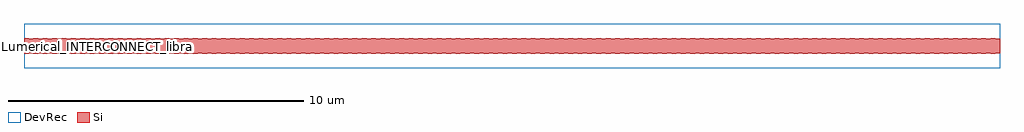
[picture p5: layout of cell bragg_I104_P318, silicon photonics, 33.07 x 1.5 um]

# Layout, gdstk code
import gdstk
lib = gdstk.Library(unit=1e-6, precision=1e-09)
def R(c, l, rs):  # rectangles x0, y0, x1, y1
    for r in rs: c.add(gdstk.rectangle(r[:2], r[2:], *l))
def A(c, l, x, y, w, h, nx, ny, dx, dy):  # array of equal rectangles
    R(c, l, [(x+i*dx, y+j*dy, x+i*dx+w, y+j*dy+h) for i in range(nx) for j in range(ny)])
Si = (1, 0)
DevRec = (68, 0)

bragg_i104_p318 = lib.new_cell('bragg_I104_P318')
A(bragg_i104_p318, Si, 0, -0.26, 0.159, 0.26, 104, 2, 0.318, 0.26)
A(bragg_i104_p318, Si, 0.159, -0.24, 0.159, 0.24, 104, 2, 0.318, 0.24)
R(bragg_i104_p318, DevRec, [(0,-0.75,33.072,0.75)])
bragg_i104_p318.add(gdstk.Label('Lumerical_INTERCONNECT_library=Design kits/ebeam', (0,0), layer=68, texttype=0))
bragg_i104_p318.add(gdstk.Label('Component=ebeam_bragg_te1550', (3.307,0), layer=68, texttype=0))
bragg_i104_p318.add(gdstk.Label('Spice_param:number_of_periods=104 grating_period=3.18e-07 corrugation_width=2e-08 misalignment=0 sinusoidal=0', (3.674,0), layer=68, texttype=0))

lib.write_gds('bragg_I104_P318.gds')
